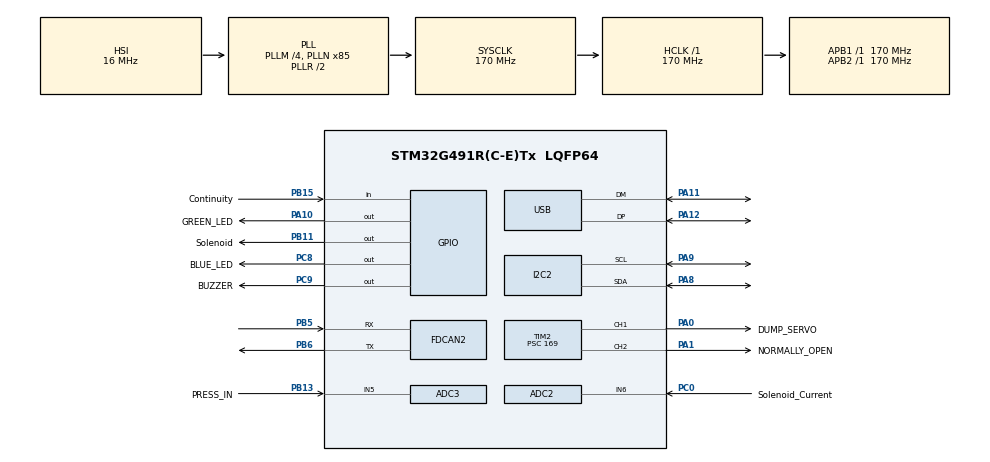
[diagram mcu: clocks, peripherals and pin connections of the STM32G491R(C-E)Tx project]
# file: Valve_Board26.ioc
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ADC2.Channel-0\#ChannelRegularConversion=ADC_CHANNEL_6
ADC2.NbrOfConversionFlag=1
ADC2.OffsetNumber-0\#ChannelRegularConversion=ADC_OFFSET_NONE
ADC2.Rank-0\#ChannelRegularConversion=1
ADC2.SamplingTime-0\#ChannelRegularConversion=ADC_SAMPLETIME_2CYCLES_5
ADC3.Channel-0\#ChannelRegularConversion=ADC_CHANNEL_5
ADC3.DMAContinuousRequests=ENABLE
ADC3.ExternalTrigConv=ADC_EXTERNALTRIG_T3_TRGO
ADC3.ExternalTrigConvEdge=ADC_EXTERNALTRIGCONVEDGE_RISING
ADC3.NbrOfConversionFlag=1
ADC3.OffsetNumber-0\#ChannelRegularConversion=ADC_OFFSET_NONE
ADC3.Overrun=ADC_OVR_DATA_OVERWRITTEN
ADC3.Rank-0\#ChannelRegularConversion=1
ADC3.SamplingTime-0\#ChannelRegularConversion=ADC_SAMPLETIME_47CYCLES_5
ADC3.master=1
Dma.ADC3.0.Direction=DMA_PERIPH_TO_MEMORY
Dma.ADC3.0.EventEnable=DISABLE
Dma.ADC3.0.Instance=DMA1_Channel1
Dma.ADC3.0.MemDataAlignment=DMA_MDATAALIGN_HALFWORD
Dma.ADC3.0.MemInc=DMA_MINC_ENABLE
Dma.ADC3.0.Mode=DMA_CIRCULAR
Dma.ADC3.0.PeriphDataAlignment=DMA_PDATAALIGN_HALFWORD
Dma.ADC3.0.PeriphInc=DMA_PINC_DISABLE
Dma.ADC3.0.Polarity=HAL_DMAMUX_REQ_GEN_RISING
Dma.ADC3.0.Priority=DMA_PRIORITY_LOW
Dma.ADC3.0.RequestNumber=1
Dma.ADC3.0.SignalID=NONE
Dma.ADC3.0.SyncEnable=DISABLE
Dma.ADC3.0.SyncPolarity=HAL_DMAMUX_SYNC_NO_EVENT
Dma.ADC3.0.SyncRequestNumber=1
Dma.ADC3.0.SyncSignalID=NONE
Dma.Request0=ADC3
FDCAN2.CalculateBaudRateNominal=3541666
FDCAN2.CalculateTimeBitNominal=282
FDCAN2.CalculateTimeQuantumNominal=11.764705882352942
FDCAN2.FrameFormat=FDCAN_FRAME_FD_NO_BRS
FDCAN2.AutoRetransmission=ENABLE
FDCAN2.NominalPrescaler=2
FDCAN2.NominalTimeSeg1=19
FDCAN2.NominalTimeSeg2=4
FDCAN2.NominalSyncJumpWidth=4
I2C2.Timing=0x00503D58
Mcu.Family=STM32G4
Mcu.Name=STM32G491R(C-E)Tx
Mcu.Package=LQFP64
NVIC.DMA1_Channel1_IRQn=true\:6\:0\:true\:false\:true\:false\:true\:true\:true
NVIC.FDCAN2_IT0_IRQn=true\:6\:0\:true\:false\:true\:false\:true\:true\:true
NVIC.FDCAN2_IT1_IRQn=true\:6\:0\:true\:false\:true\:false\:true\:true\:true
NVIC.PriorityGroup=NVIC_PRIORITYGROUP_4
NVIC.TIM6_DAC_IRQn=true\:15\:0\:false\:false\:true\:false\:false\:true\:true
NVIC.TimeBase=TIM6_DAC_IRQn
NVIC.TimeBaseIP=TIM6
NVIC.USB_LP_IRQn=true\:5\:0\:true\:false\:true\:false\:true\:true\:true
PA0.GPIO_Label=DUMP_SERVO
PA0.Signal=S_TIM2_CH1
PA1.GPIO_Label=NORMALLY_OPEN
PA1.Signal=S_TIM2_CH2
PA10.GPIO_Label=GREEN_LED
PA10.Signal=GPIO_Output
PA11.Mode=Device
PA11.Signal=USB_DM
PA12.Mode=Device
PA12.Signal=USB_DP
PA13.Mode=Serial_Wire
PA13.Signal=SYS_JTMS-SWDIO
PA14.Mode=Serial_Wire
PA14.Signal=SYS_JTCK-SWCLK
PA8.Mode=I2C
PA8.Signal=I2C2_SDA
PA9.Mode=I2C
PA9.Signal=I2C2_SCL
PB11.GPIO_Label=Solenoid
PB11.Signal=GPIO_Output
PB13.GPIO_Label=PRESS_IN
PB13.Mode=IN5-Single-Ended
PB13.Signal=ADC3_IN5
PB15.GPIO_Label=Continuity
PB15.GPIO_PuPd=GPIO_PULLDOWN
PB15.Signal=GPIO_Input
PB5.Mode=FDCAN_Activate
PB5.Signal=FDCAN2_RX
PB6.Mode=FDCAN_Activate
PB6.Signal=FDCAN2_TX
PC0.GPIO_Label=Solenoid_Current
PC0.Mode=IN6-Single-Ended
PC0.Signal=ADC2_IN6
PC14-OSC32_IN.Mode=LSE-External-Oscillator
PC14-OSC32_IN.Signal=RCC_OSC32_IN
PC15-OSC32_OUT.Mode=LSE-External-Oscillator
PC15-OSC32_OUT.Signal=RCC_OSC32_OUT
PC8.GPIO_Label=BLUE_LED
PC8.Signal=GPIO_Output
PC9.GPIO_Label=BUZZER
PC9.Signal=GPIO_Output
PF0-OSC_IN.Mode=HSE-External-Oscillator
PF0-OSC_IN.Signal=RCC_OSC_IN
PF1-OSC_OUT.Mode=HSE-External-Oscillator
PF1-OSC_OUT.Signal=RCC_OSC_OUT
ProjectManager.HeapSize=0x200
ProjectManager.StackSize=0x400
ProjectManager.TargetToolchain=CMake
RCC.ADC12Freq_Value=170000000
RCC.ADC345Freq_Value=170000000
RCC.AHBFreq_Value=170000000
RCC.APB1Freq_Value=170000000
RCC.APB1TimFreq_Value=170000000
RCC.APB2Freq_Value=170000000
RCC.APB2TimFreq_Value=170000000
RCC.CortexFreq_Value=170000000
RCC.EXTERNAL_CLOCK_VALUE=12288000
RCC.HCLKFreq_Value=170000000
RCC.HSE_VALUE=8000000
RCC.HSI48_VALUE=48000000
RCC.HSI_VALUE=16000000
RCC.PLLM=RCC_PLLM_DIV4
RCC.PLLN=85
RCC.SYSCLKFreq_VALUE=170000000
RCC.SYSCLKSource=RCC_SYSCLKSOURCE_PLLCLK
RCC.VCOOutputFreq_Value=340000000
SH.S_TIM2_CH1.0=TIM2_CH1,PWM Generation1 CH1
SH.S_TIM2_CH2.0=TIM2_CH2,PWM Generation2 CH2
STMicroelectronics.X-CUBE-AZRTOS-G4.2.0.0.REG_USBX_DEVICE_CON_CK=1
STMicroelectronics.X-CUBE-AZRTOS-G4.2.0.0.REG_UX_DEVICE_CORE=true
STMicroelectronics.X-CUBE-AZRTOS-G4.2.0.0.TX_APP_GENERATE_INIT_CODE=true
STMicroelectronics.X-CUBE-AZRTOS-G4.2.0.0.TX_APP_MEM_POOL_SIZE=40960
STMicroelectronics.X-CUBE-AZRTOS-G4.2.0.0.TX_TIMER_TICKS_PER_SECOND=1000
STMicroelectronics.X-CUBE-AZRTOS-G4.2.0.0.ThreadXCcRTOSJjThreadXJjCore=true
STMicroelectronics.X-CUBE-AZRTOS-G4.2.0.0.ThreadXCcRTOSJjThreadXJjLowOoPowerOosupport=true
STMicroelectronics.X-CUBE-AZRTOS-G4.2.0.0.ThreadXCcRTOSJjThreadXJjPerformanceInfo=true
STMicroelectronics.X-CUBE-AZRTOS-G4.2.0.0.ThreadXCcRTOSJjThreadXJjTraceXOosupport=true
STMicroelectronics.X-CUBE-AZRTOS-G4.2.0.0.USBD_CDCACM_EPINCMD_ADDR=2
STMicroelectronics.X-CUBE-AZRTOS-G4.2.0.0.USBD_MANUFACTURER_STRING=UBSEDS
STMicroelectronics.X-CUBE-AZRTOS-G4.2.0.0.USBD_PRODUCT_STRING=Chud Valve Board
STMicroelectronics.X-CUBE-AZRTOS-G4.2.0.0.USBD_SERIAL_NUMBER=67
STMicroelectronics.X-CUBE-AZRTOS-G4.2.0.0.USBXCcUSBJjUSBXJjCoreSystem=true
STMicroelectronics.X-CUBE-AZRTOS-G4.2.0.0.USBXCcUSBJjUSBXJjUXOoDeviceOoClassOoCDCOoACM=true
STMicroelectronics.X-CUBE-AZRTOS-G4.2.0.0.USBXCcUSBJjUSBXJjUXOoDeviceOoControllers=true
STMicroelectronics.X-CUBE-AZRTOS-G4.2.0.0.USBXCcUSBJjUSBXJjUXOoDeviceOoCoreStack=true
STMicroelectronics.X-CUBE-AZRTOS-G4.2.0.0.USBX_DEVICE_APP_THREAD_Size=5120
STMicroelectronics.X-CUBE-AZRTOS-G4.2.0.0.USBX_DEVICE_SYS_SIZE=16384
STMicroelectronics.X-CUBE-AZRTOS-G4.2.0.0.UX_DEVICE_APP_MEM_POOL_SIZE=22696
STMicroelectronics.X-CUBE-AZRTOS-G4.2.0.0.UX_SLAVE_REQUEST_DATA_MAX_LENGTH=512
STMicroelectronics.X-CUBE-AZRTOS-G4.2.0.0_IsAnAzureRtosMw=true
TIM2.Channel-PWM\ Generation1\ CH1=TIM_CHANNEL_1
TIM2.Channel-PWM\ Generation2\ CH2=TIM_CHANNEL_2
TIM2.Period=19999
TIM2.Prescaler=169
TIM2.TriggerOutput=TIM_TRGO_RESET
TIM3.Period=199
TIM3.Prescaler=1699
TIM3.TriggerOutput=TIM_TRGO_UPDATE
VP_STMicroelectronics.X-CUBE-AZRTOS-G4_VS_RTOSJjThreadX_6.2.0_2.0.0.Mode=RTOSJjThreadX
VP_STMicroelectronics.X-CUBE-AZRTOS-G4_VS_USBJjUSBX_6.2.0_2.0.0.Mode=USBJjUSBX
VP_SYS_VS_DBSignals.Mode=DisableDeadBatterySignals
VP_SYS_VS_tim6.Mode=TIM6
VP_TIM3_VS_ClockSourceINT.Mode=Internal
board=custom

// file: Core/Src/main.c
#include "persistent_store.h"
/* USER CODE BEGIN Header */
/**
  ******************************************************************************
  * @file           : main.c
  * @brief          : Main program body
  ******************************************************************************
  * @attention
  *
  * Copyright (c) 2026 STMicroelectronics.
  * All rights reserved.
  *
  * This software is licensed under terms that can be found in the LICENSE file
  * in the root directory of this software component.
  * If no LICENSE file comes with this software, it is provided AS-IS.
  *
  ******************************************************************************
  */
/* USER CODE END Header */
#include "app_threadx.h"
#include "main.h"
#include "board_watchdog.h"
#include "board_abort_latch.h"

/* USER CODE BEGIN Includes */
#ifdef TELEMETRY_ENABLED
#include "board_crc32.h"
#endif
#include "stm32g4xx_hal.h"
#include "stm32g4xx_hal_gpio.h"
#if FIRMWARE_USB_DEBUG_ENABLED
#include "ux_api.h"
#include "ux_device_class_cdc_acm.h"
#endif
#include <stdint.h>
#include <stdio.h>
#include "flight_state_cache.h"
#include "board_recovery_boot.h"
#include "board_bootstrap_storage.h"
/* USER CODE END Includes */

/* USER CODE BEGIN PTD */
typedef struct{
  float voltages[4]; // V1-V4
  float differential; // V1-V2
  uint32_t pressure; // ADC
} valveBoardPayload_t;

#if FIRMWARE_USB_DEBUG_ENABLED
extern UX_SLAVE_CLASS_CDC_ACM *cdc_acm;
#endif

#ifndef MIN
#define MIN(a, b) (((a) < (b)) ? (a) : (b))
#endif

static void busy_delay(volatile uint32_t n)
{
  while (n--) { __NOP(); }
}
/* USER CODE END PTD */

/* USER CODE BEGIN PD */
void cdc_printf_init(void);
/* USER CODE END PD */

ADC_HandleTypeDef hadc2;
ADC_HandleTypeDef hadc3;
DMA_HandleTypeDef hdma_adc3;

FDCAN_HandleTypeDef hfdcan2;

I2C_HandleTypeDef hi2c2;

TIM_HandleTypeDef htim2;
TIM_HandleTypeDef htim3;

PCD_HandleTypeDef hpcd_USB_FS;

void SystemClock_Config(void);
static void MX_GPIO_Init(void);
static void MX_DMA_Init(void);
static void MX_ADC3_Init(void);
static void MX_I2C2_Init(void);
static void MX_FDCAN2_Init(void);
#if FIRMWARE_USB_DEBUG_ENABLED
static void MX_USB_PCD_Init(void);
#endif
static void MX_ADC2_Init(void);
static void MX_TIM2_Init(void);
static void MX_TIM3_Init(void);

int main(void)
{

  /* MCU Configuration--------------------------------------------------------*/

  /* Reset of all peripherals, Initializes the Flash interface and the Systick. */
  HAL_Init();

  /* Configure the system clock */
  SystemClock_Config();

  /* USER CODE BEGIN SysInit */
#ifdef TELEMETRY_ENABLED
  /* Before any SEDSnet router exists: frame CRCs on the CRC unit once it
   * passes its self-test, otherwise SEDSnet keeps its software CRC. */
  (void)board_crc32_install();
#endif
  /* USER CODE END SysInit */

  /* Initialize all configured peripherals */
  MX_GPIO_Init();
  MX_DMA_Init();
  MX_ADC3_Init();
  MX_I2C2_Init();
  MX_FDCAN2_Init();
#if FIRMWARE_USB_DEBUG_ENABLED
  MX_USB_PCD_Init();
#endif
  MX_ADC2_Init();
  MX_TIM2_Init();
  MX_TIM3_Init();
  /* USER CODE BEGIN 2 */

  /* Do not block before ThreadX starts. A bootloader handoff intentionally
   * resets interrupt state, so a HAL_Delay here can make application boot
   * depend on the timer interrupt becoming live before the scheduler. */
  HAL_GPIO_WritePin(BUZZER_GPIO_Port, BUZZER_Pin, GPIO_PIN_RESET);

  /* USER CODE END 2 */

  board_abort_latch_init();
  (void)persistent_store_boot_begin();
  /* Establish recovery identity before cached state restore and control tasks. */
  (void)board_recovery_boot_generation();
  board_bootstrap_storage_probe_boot();
  flight_state_cache_restore();
  board_watchdog_start();
  MX_ThreadX_Init();

  /* We should never get here as control is now taken by the scheduler */

  /* Infinite loop */
  while (1)
  {

  }
}

void SystemClock_Config(void)
{
  RCC_OscInitTypeDef RCC_OscInitStruct = {0};
  RCC_ClkInitTypeDef RCC_ClkInitStruct = {0};

  /** Configure the main internal regulator output voltage
  */
  HAL_PWREx_ControlVoltageScaling(PWR_REGULATOR_VOLTAGE_SCALE1_BOOST);

  /** Initializes the RCC Oscillators according to the specified parameters
  * in the RCC_OscInitTypeDef structure.
  */
  RCC_OscInitStruct.OscillatorType = RCC_OSCILLATORTYPE_HSI|RCC_OSCILLATORTYPE_HSI48;
  RCC_OscInitStruct.HSIState = RCC_HSI_ON;
  RCC_OscInitStruct.HSICalibrationValue = RCC_HSICALIBRATION_DEFAULT;
  RCC_OscInitStruct.HSI48State = RCC_HSI48_ON;
  RCC_OscInitStruct.PLL.PLLState = RCC_PLL_ON;
  RCC_OscInitStruct.PLL.PLLSource = RCC_PLLSOURCE_HSI;
  RCC_OscInitStruct.PLL.PLLM = RCC_PLLM_DIV4;
  RCC_OscInitStruct.PLL.PLLN = 85;
  RCC_OscInitStruct.PLL.PLLP = RCC_PLLP_DIV2;
  RCC_OscInitStruct.PLL.PLLQ = RCC_PLLQ_DIV2;
  RCC_OscInitStruct.PLL.PLLR = RCC_PLLR_DIV2;
  if (HAL_RCC_OscConfig(&RCC_OscInitStruct) != HAL_OK)
  {
    Error_Handler();
  }

  /** Initializes the CPU, AHB and APB buses clocks
  */
  RCC_ClkInitStruct.ClockType = RCC_CLOCKTYPE_HCLK|RCC_CLOCKTYPE_SYSCLK
                              |RCC_CLOCKTYPE_PCLK1|RCC_CLOCKTYPE_PCLK2;
  RCC_ClkInitStruct.SYSCLKSource = RCC_SYSCLKSOURCE_PLLCLK;
  RCC_ClkInitStruct.AHBCLKDivider = RCC_SYSCLK_DIV1;
  RCC_ClkInitStruct.APB1CLKDivider = RCC_HCLK_DIV1;
  RCC_ClkInitStruct.APB2CLKDivider = RCC_HCLK_DIV1;

  if (HAL_RCC_ClockConfig(&RCC_ClkInitStruct, FLASH_LATENCY_4) != HAL_OK)
  {
    Error_Handler();
  }
}

static void MX_ADC2_Init(void)
{

  ADC_ChannelConfTypeDef sConfig = {0};

  /** Common config
  */
  hadc2.Instance = ADC2;
  hadc2.Init.ClockPrescaler = ADC_CLOCK_SYNC_PCLK_DIV4;
  hadc2.Init.Resolution = ADC_RESOLUTION_12B;
  hadc2.Init.DataAlign = ADC_DATAALIGN_RIGHT;
  hadc2.Init.GainCompensation = 0;
  hadc2.Init.ScanConvMode = ADC_SCAN_DISABLE;
  hadc2.Init.EOCSelection = ADC_EOC_SINGLE_CONV;
  hadc2.Init.LowPowerAutoWait = DISABLE;
  hadc2.Init.ContinuousConvMode = DISABLE;
  hadc2.Init.NbrOfConversion = 1;
  hadc2.Init.DiscontinuousConvMode = DISABLE;
  hadc2.Init.ExternalTrigConv = ADC_SOFTWARE_START;
  hadc2.Init.ExternalTrigConvEdge = ADC_EXTERNALTRIGCONVEDGE_NONE;
  hadc2.Init.DMAContinuousRequests = DISABLE;
  hadc2.Init.Overrun = ADC_OVR_DATA_PRESERVED;
  hadc2.Init.OversamplingMode = DISABLE;
  if (HAL_ADC_Init(&hadc2) != HAL_OK)
  {
    Error_Handler();
  }

  /** Configure Regular Channel
  */
  sConfig.Channel = ADC_CHANNEL_6;
  sConfig.Rank = ADC_REGULAR_RANK_1;
  sConfig.SamplingTime = ADC_SAMPLETIME_2CYCLES_5;
  sConfig.SingleDiff = ADC_SINGLE_ENDED;
  sConfig.OffsetNumber = ADC_OFFSET_NONE;
  sConfig.Offset = 0;
  if (HAL_ADC_ConfigChannel(&hadc2, &sConfig) != HAL_OK)
  {
    Error_Handler();
  }

}

static void MX_ADC3_Init(void)
{

  ADC_ChannelConfTypeDef sConfig = {0};

  /** Common config
  */
  hadc3.Instance = ADC3;
  hadc3.Init.ClockPrescaler = ADC_CLOCK_SYNC_PCLK_DIV4;
  hadc3.Init.Resolution = ADC_RESOLUTION_12B;
  hadc3.Init.DataAlign = ADC_DATAALIGN_RIGHT;
  hadc3.Init.GainCompensation = 0;
  hadc3.Init.ScanConvMode = ADC_SCAN_DISABLE;
  hadc3.Init.EOCSelection = ADC_EOC_SINGLE_CONV;
  hadc3.Init.LowPowerAutoWait = DISABLE;
  hadc3.Init.ContinuousConvMode = DISABLE;
  hadc3.Init.NbrOfConversion = 1;
  hadc3.Init.DiscontinuousConvMode = DISABLE;
  hadc3.Init.ExternalTrigConv = ADC_EXTERNALTRIG_T3_TRGO;
  hadc3.Init.ExternalTrigConvEdge = ADC_EXTERNALTRIGCONVEDGE_RISING;
  hadc3.Init.DMAContinuousRequests = ENABLE;
  hadc3.Init.Overrun = ADC_OVR_DATA_OVERWRITTEN;
  hadc3.Init.OversamplingMode = DISABLE;
  if (HAL_ADC_Init(&hadc3) != HAL_OK)
  {
    Error_Handler();
  }

  /** Configure Regular Channel
  */
  sConfig.Channel = ADC_CHANNEL_5;
  sConfig.Rank = ADC_REGULAR_RANK_1;
  sConfig.SamplingTime = ADC_SAMPLETIME_47CYCLES_5;
  sConfig.SingleDiff = ADC_SINGLE_ENDED;
  sConfig.OffsetNumber = ADC_OFFSET_NONE;
  sConfig.Offset = 0;
  if (HAL_ADC_ConfigChannel(&hadc3, &sConfig) != HAL_OK)
  {
    Error_Handler();
  }

}

static void MX_FDCAN2_Init(void)
{

  hfdcan2.Instance = FDCAN2;
  hfdcan2.Init.ClockDivider = FDCAN_CLOCK_DIV1;
  hfdcan2.Init.FrameFormat = FDCAN_FRAME_FD_NO_BRS;
  hfdcan2.Init.Mode = FDCAN_MODE_NORMAL;
  /* FDCAN retries physical arbitration/ACK failures; SEDSNet supplies
   * end-to-end reliability without blocking this non-blocking TX path. */
  hfdcan2.Init.AutoRetransmission = ENABLE;
  hfdcan2.Init.TransmitPause = DISABLE;
  hfdcan2.Init.ProtocolException = DISABLE;
  /* Preserve the 48-clock bit period while sampling at 83.3% instead
   * of 66.7%; match the gateway and actuator propagation margin. */
  hfdcan2.Init.NominalPrescaler = 2;
  hfdcan2.Init.NominalSyncJumpWidth = 4;
  hfdcan2.Init.NominalTimeSeg1 = 19;
  hfdcan2.Init.NominalTimeSeg2 = 4;
  hfdcan2.Init.DataPrescaler = 1;
  hfdcan2.Init.DataSyncJumpWidth = 1;
  hfdcan2.Init.DataTimeSeg1 = 1;
  hfdcan2.Init.DataTimeSeg2 = 1;
  hfdcan2.Init.StdFiltersNbr = 0;
  hfdcan2.Init.ExtFiltersNbr = 0;
  hfdcan2.Init.TxFifoQueueMode = FDCAN_TX_FIFO_OPERATION;
  if (HAL_FDCAN_Init(&hfdcan2) != HAL_OK)
  {
    Error_Handler();
  }

}

static void MX_I2C2_Init(void)
{

  hi2c2.Instance = I2C2;
  hi2c2.Init.Timing = 0x00503D58;
  hi2c2.Init.OwnAddress1 = 0;
  hi2c2.Init.AddressingMode = I2C_ADDRESSINGMODE_7BIT;
  hi2c2.Init.DualAddressMode = I2C_DUALADDRESS_DISABLE;
  hi2c2.Init.OwnAddress2 = 0;
  hi2c2.Init.OwnAddress2Masks = I2C_OA2_NOMASK;
  hi2c2.Init.GeneralCallMode = I2C_GENERALCALL_DISABLE;
  hi2c2.Init.NoStretchMode = I2C_NOSTRETCH_DISABLE;
  if (HAL_I2C_Init(&hi2c2) != HAL_OK)
  {
    Error_Handler();
  }

  /** Configure Analogue filter
  */
  if (HAL_I2CEx_ConfigAnalogFilter(&hi2c2, I2C_ANALOGFILTER_ENABLE) != HAL_OK)
  {
    Error_Handler();
  }

  /** Configure Digital filter
  */
  if (HAL_I2CEx_ConfigDigitalFilter(&hi2c2, 0) != HAL_OK)
  {
    Error_Handler();
  }

}

static void MX_TIM2_Init(void)
{

  TIM_MasterConfigTypeDef sMasterConfig = {0};
  TIM_OC_InitTypeDef sConfigOC = {0};

  htim2.Instance = TIM2;
  htim2.Init.Prescaler = 169;
  htim2.Init.CounterMode = TIM_COUNTERMODE_UP;
  htim2.Init.Period = 19999;
  htim2.Init.ClockDivision = TIM_CLOCKDIVISION_DIV1;
  htim2.Init.AutoReloadPreload = TIM_AUTORELOAD_PRELOAD_DISABLE;
  if (HAL_TIM_PWM_Init(&htim2) != HAL_OK)
  {
    Error_Handler();
  }
  sMasterConfig.MasterOutputTrigger = TIM_TRGO_RESET;
  sMasterConfig.MasterSlaveMode = TIM_MASTERSLAVEMODE_DISABLE;
  if (HAL_TIMEx_MasterConfigSynchronization(&htim2, &sMasterConfig) != HAL_OK)
  {
    Error_Handler();
  }
  sConfigOC.OCMode = TIM_OCMODE_PWM1;
  sConfigOC.Pulse = 0;
  sConfigOC.OCPolarity = TIM_OCPOLARITY_HIGH;
  sConfigOC.OCFastMode = TIM_OCFAST_DISABLE;
  if (HAL_TIM_PWM_ConfigChannel(&htim2, &sConfigOC, TIM_CHANNEL_1) != HAL_OK)
  {
    Error_Handler();
  }
  if (HAL_TIM_PWM_ConfigChannel(&htim2, &sConfigOC, TIM_CHANNEL_2) != HAL_OK)
  {
    Error_Handler();
  }
  /* USER CODE BEGIN TIM2_Init 2 */
  sMasterConfig.MasterOutputTrigger = TIM_TRGO_RESET;
  sMasterConfig.MasterSlaveMode = TIM_MASTERSLAVEMODE_DISABLE;
  if (HAL_TIMEx_MasterConfigSynchronization(&htim2, &sMasterConfig) != HAL_OK)
  {
    Error_Handler();
  }

  /* USER CODE END TIM2_Init 2 */
  HAL_TIM_MspPostInit(&htim2);

}

static void MX_TIM3_Init(void)
{

  TIM_ClockConfigTypeDef sClockSourceConfig = {0};
  TIM_MasterConfigTypeDef sMasterConfig = {0};

  htim3.Instance = TIM3;
  htim3.Init.Prescaler = 1699;
  htim3.Init.CounterMode = TIM_COUNTERMODE_UP;
  htim3.Init.Period = 199;
  htim3.Init.ClockDivision = TIM_CLOCKDIVISION_DIV1;
  htim3.Init.AutoReloadPreload = TIM_AUTORELOAD_PRELOAD_DISABLE;
  if (HAL_TIM_Base_Init(&htim3) != HAL_OK)
  {
    Error_Handler();
  }
  sClockSourceConfig.ClockSource = TIM_CLOCKSOURCE_INTERNAL;
  if (HAL_TIM_ConfigClockSource(&htim3, &sClockSourceConfig) != HAL_OK)
  {
    Error_Handler();
  }
  sMasterConfig.MasterOutputTrigger = TIM_TRGO_RESET;
  sMasterConfig.MasterSlaveMode = TIM_MASTERSLAVEMODE_DISABLE;
  if (HAL_TIMEx_MasterConfigSynchronization(&htim3, &sMasterConfig) != HAL_OK)
  {
    Error_Handler();
  }
  /* USER CODE BEGIN TIM3_Init 2 */
  sMasterConfig.MasterOutputTrigger = TIM_TRGO_UPDATE;
  sMasterConfig.MasterSlaveMode = TIM_MASTERSLAVEMODE_DISABLE;
  if (HAL_TIMEx_MasterConfigSynchronization(&htim3, &sMasterConfig) != HAL_OK)
  {
    Error_Handler();
  }

  /* USER CODE END TIM3_Init 2 */

}

#if FIRMWARE_USB_DEBUG_ENABLED
static void MX_USB_PCD_Init(void)
{

  hpcd_USB_FS.Instance = USB;
  hpcd_USB_FS.Init.dev_endpoints = 8;
  hpcd_USB_FS.Init.speed = PCD_SPEED_FULL;
  hpcd_USB_FS.Init.phy_itface = PCD_PHY_EMBEDDED;
  hpcd_USB_FS.Init.Sof_enable = DISABLE;
  hpcd_USB_FS.Init.low_power_enable = DISABLE;
  hpcd_USB_FS.Init.lpm_enable = DISABLE;
  hpcd_USB_FS.Init.battery_charging_enable = DISABLE;
  if (HAL_PCD_Init(&hpcd_USB_FS) != HAL_OK)
  {
    Error_Handler();
  }

}
#endif /* FIRMWARE_USB_DEBUG_ENABLED */

static void MX_DMA_Init(void)
{

  /* DMA controller clock enable */
  __HAL_RCC_DMAMUX1_CLK_ENABLE();
  __HAL_RCC_DMA1_CLK_ENABLE();

  /* DMA interrupt init */
  /* DMA1_Channel1_IRQn interrupt configuration */
  HAL_NVIC_SetPriority(DMA1_Channel1_IRQn, 6, 0);
  HAL_NVIC_EnableIRQ(DMA1_Channel1_IRQn);

}

static void MX_GPIO_Init(void)
{
  GPIO_InitTypeDef GPIO_InitStruct = {0};

  /* GPIO Ports Clock Enable */
  __HAL_RCC_GPIOC_CLK_ENABLE();
  __HAL_RCC_GPIOF_CLK_ENABLE();
  __HAL_RCC_GPIOA_CLK_ENABLE();
  __HAL_RCC_GPIOB_CLK_ENABLE();

  /*Configure GPIO pin Output Level */
  HAL_GPIO_WritePin(Solenoid_GPIO_Port, Solenoid_Pin, GPIO_PIN_RESET);

  /*Configure GPIO pin Output Level */
  HAL_GPIO_WritePin(GPIOC, BLUE_LED_Pin|BUZZER_Pin, GPIO_PIN_RESET);

  /*Configure GPIO pin Output Level */
  HAL_GPIO_WritePin(GREEN_LED_GPIO_Port, GREEN_LED_Pin, GPIO_PIN_RESET);

  /*Configure GPIO pin : Solenoid_Pin */
  GPIO_InitStruct.Pin = Solenoid_Pin;
  GPIO_InitStruct.Mode = GPIO_MODE_OUTPUT_PP;
  GPIO_InitStruct.Pull = GPIO_NOPULL;
  GPIO_InitStruct.Speed = GPIO_SPEED_FREQ_LOW;
  HAL_GPIO_Init(Solenoid_GPIO_Port, &GPIO_InitStruct);

  /*Configure GPIO pin : Continuity_Pin */
  GPIO_InitStruct.Pin = Continuity_Pin;
  GPIO_InitStruct.Mode = GPIO_MODE_INPUT;
  GPIO_InitStruct.Pull = GPIO_PULLDOWN;
  HAL_GPIO_Init(Continuity_GPIO_Port, &GPIO_InitStruct);

  /*Configure GPIO pins : BLUE_LED_Pin BUZZER_Pin */
  GPIO_InitStruct.Pin = BLUE_LED_Pin|BUZZER_Pin;
  GPIO_InitStruct.Mode = GPIO_MODE_OUTPUT_PP;
  GPIO_InitStruct.Pull = GPIO_NOPULL;
  GPIO_InitStruct.Speed = GPIO_SPEED_FREQ_LOW;
  HAL_GPIO_Init(GPIOC, &GPIO_InitStruct);

  /*Configure GPIO pin : GREEN_LED_Pin */
  GPIO_InitStruct.Pin = GREEN_LED_Pin;
  GPIO_InitStruct.Mode = GPIO_MODE_OUTPUT_PP;
  GPIO_InitStruct.Pull = GPIO_NOPULL;
  GPIO_InitStruct.Speed = GPIO_SPEED_FREQ_LOW;
  HAL_GPIO_Init(GREEN_LED_GPIO_Port, &GPIO_InitStruct);

}

/* USER CODE BEGIN 4 */
void startInstrumentation(){

}

#if FIRMWARE_USB_DEBUG_ENABLED

static inline int cdc_in_isr(void)
{
  return (__get_IPSR() != 0U);
}

/* ------------ Mutex for multi-thread serialization ------------ */

static TX_MUTEX cdc_mutex;

/*
 * NOTE:
 * Call this from a ThreadX thread AFTER USBX device init (MX_USBX_Device_Init)
 * has run. It's OK to call multiple times if you guard creation elsewhere,
 * but simplest is call once from your "app" thread entry.
 */
void cdc_printf_init(void)
{
  (void)tx_mutex_create(&cdc_mutex, "cdc_tx_mutex", TX_INHERIT);
}

extern volatile ULONG _tx_thread_system_state;

static inline int tx_is_running(void)
{
  return (__get_IPSR() == 0U) && (_tx_thread_system_state == 0U);
}

static void cdc_lock(void)
{
  if (!tx_is_running() || cdc_in_isr()) return;
  (void)tx_mutex_get(&cdc_mutex, TX_WAIT_FOREVER);
}

static void cdc_unlock(void)
{
  if (!tx_is_running() || cdc_in_isr()) return;
  (void)tx_mutex_put(&cdc_mutex);
}

/* ------------ USB ready helper ------------ */

static inline UINT usb_cdc_ready(void)
{
  return (cdc_acm != UX_NULL);
}

/* ------------ Bounded, drop-on-trouble CDC write ------------ */

static void cdc_write_raw(const uint8_t *buf, uint16_t len)
{
  if (!buf || !len || cdc_in_isr()) return;
  if (!usb_cdc_ready()) return;

  cdc_lock();

  /* Keep it simple: one synchronous write. If host isn't ready, drop. */
  ULONG actual = 0;
  UINT st = ux_device_class_cdc_acm_write(cdc_acm, (UCHAR *)buf, (ULONG)len, &actual);
  if (st != UX_SUCCESS || actual == 0)
  {
    /* Host not ready or write failed — drop the data instead of hard-failing.
       This avoids entering Error_Handler when USB is connected but the
       host-side serial port isn't opened. */
    cdc_unlock();
    return;
  }
  (void)actual;

  cdc_unlock();
}

/* ---------- printf redirection ---------- */

#ifdef __GNUC__
int _write(int file, char *ptr, int len)
{
  (void)file;
  if (len <= 0) return 0;

  /* If USB not configured, pretend we consumed everything (best-effort debug) */
  if (!usb_cdc_ready()) return len;

  uint8_t buf[128];
  int i = 0;
  static uint8_t last_was_cr = 0;

  while (i < len)
  {
    uint16_t w = 0;

    while (i < len && w < sizeof(buf))
    {
      uint8_t c = (uint8_t)ptr[i++];

      if (c == '\n')
      {
        if (!last_was_cr)
        {
          if (w > (uint16_t)(sizeof(buf) - 2))
          {
            i--;
            break;
          }
          buf[w++] = '\r';
        }

        if (w >= sizeof(buf))
        {
          i--;
          break;
        }
        buf[w++] = '\n';
        last_was_cr = 0;
      }
      else
      {
        if (w >= sizeof(buf))
        {
          i--;
          break;
        }
        buf[w++] = c;
        last_was_cr = (c == '\r');
      }
    }

    if (w > 0)
    {
      cdc_write_raw(buf, w);
    }
  }

  return len;
}
#else
int fputc(int ch, FILE *f)
{
  (void)f;

  static uint8_t last_was_cr = 0;
  uint8_t buf[2];
  uint16_t w = 0;

  if (!usb_cdc_ready()) return ch;

  if (ch == '\n')
  {
    if (!last_was_cr) buf[w++] = '\r';
    buf[w++] = '\n';
    last_was_cr = 0;
  }
  else
  {
    buf[w++] = (uint8_t)ch;
    last_was_cr = (ch == '\r');
  }

  if (w > 0) cdc_write_raw(buf, w);
  return ch;
}
#endif

#else

void cdc_printf_init(void)
{
}

#ifdef __GNUC__
int _write(int file, char *ptr, int len)
{
  (void)file;
  (void)ptr;
  return len;
}
#endif

#endif /* FIRMWARE_USB_DEBUG_ENABLED */

/* USER CODE END 4 */

void HAL_TIM_PeriodElapsedCallback(TIM_HandleTypeDef *htim)
{
  if (htim->Instance == TIM6)
  {
    HAL_IncTick();
  }
}

void Error_Handler(void)
{
  /* USER CODE BEGIN Error_Handler_Debug */
  /* User can add his own implementation to report the HAL error return state */
  __disable_irq();
  while (1)
  {
    HAL_GPIO_TogglePin(GREEN_LED_GPIO_Port, GREEN_LED_Pin);
    HAL_GPIO_TogglePin(BLUE_LED_GPIO_Port, BLUE_LED_Pin);
    busy_delay(100000);
  }
  /* USER CODE END Error_Handler_Debug */
}
